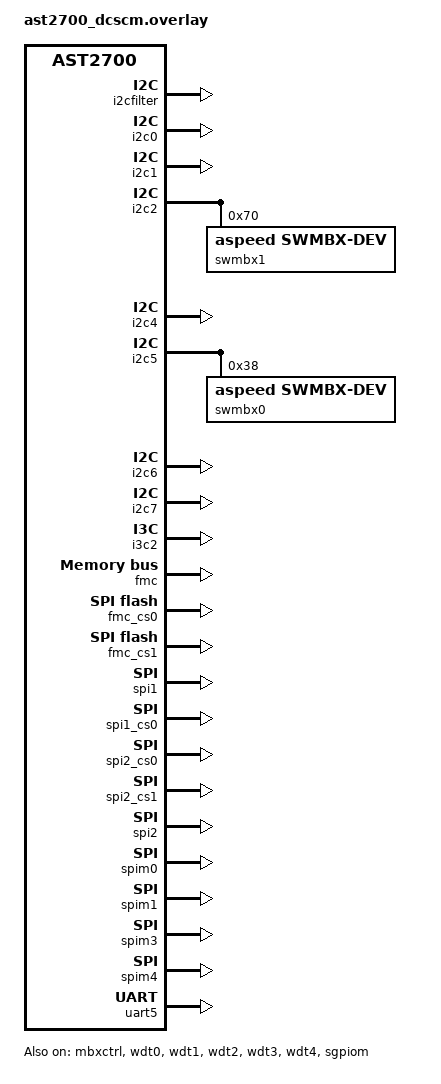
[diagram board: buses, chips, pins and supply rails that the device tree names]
#include <aspeed/ast10x0.dtsi>
#include "ast2700_dcscm_gpio_common.dts"
#include "ast2700_dcscm_gpio_bhs.dts"

&i2cfilter {
	status = "okay";
};

&mbxctrl {
	status = "okay";
};

&i2c0 {
	status = "okay";
};

&i2c1 {
	status = "okay";
};

&i2c2 {
	status = "okay";

	swmbx1: swmbx1@70 {
		compatible = "aspeed,swmbx-dev";
		reg = <0x70>;
		size = <256>;
		port = <1>;
		status = "okay";
	};
};

&i2c4 {
	status = "okay";
};

&i2c5 {
	status = "okay";

	swmbx0: swmbx0@38 {
		compatible = "aspeed,swmbx-dev";
		reg = <0x38>;
		size = <256>;
		port = <0>;
		status = "okay";
	};
};

&i2c6 {
	status = "okay";
};

&i2c7 {
	status = "okay";
};

// For mctp over i3c
// AST2700 i3c-0 -> AST1060 i3c-2
&i3c2 {
	status = "okay";
	sda-tx-hold-ns = <20>;
	i3c-pp-scl-hi-period-ns = <250>;
	i3c-pp-scl-lo-period-ns = <250>;

	pinctrl-0 = <pinctrl_i3c2_default>;

	i3cdev@7ec06000000 {
		compatible = "i3c-dummy-device";
		reg = <0x0 0x7ec 0x06000000>;
		status = "okay";
	};
};

&wdt0 {
	status = "okay";
};

&wdt1 {
	status = "okay";
};

&wdt2 {
	status = "okay";
};

&wdt3 {
	status = "okay";
};

&wdt4 {
	status = "okay";
};

&fmc {
	status = "okay";
};

&fmc_cs0 {
	/delete-property/ write-block-size;
	status = "okay";
	spi-max-buswidth = <4>;
	spi-max-frequency = <50000000>;
	partitions {
		compatible = "fixed-partitions";
		#address-cells = <1>;
		#size-cells = <1>;
		active_partition: partition@0 {
			label = "active";
			reg = <0x0 0x60000>;
		};

		recovery_partition: partition@60000 {
			label = "recovery";
			reg = <0x60000 0x60000>;
		};

		state_partition: partition@c0000 {
			label = "state";
			reg = <0xC0000 0x10000>;
		};

		intel_state_partition: partition@d0000 {
			label = "intel_state";
			reg = <0xD0000 0x10000>;
		};

		key_partition: partition@e0000 {
			label = "key";
			reg = <0xE0000 0x10000>;
		};

		/* For Intel-PFR 3.0 */
		afm_act_1_partition: partition@f0000 {
			label = "afm_act_1";
			reg = <0xF0000 0x10000>;
		};
	};
};

&fmc_cs1 {
	status = "okay";
	spi-max-buswidth = <4>;
	spi-max-frequency = <50000000>;
	partitions {
		compatible = "fixed-partitions";
		#address-cells = <1>;
		#size-cells = <1>;

#if 0
		/* Reserved for Intel-PFR 4.0 */
		afm_act_1_partition: partition@0 {
			label = "afm_active_1";
			reg = <0x0 0x80000>;
		};

		afm_act_2_partition: partition@80000 {
			label = "afm_active_2";
		}
			reg = <0x80000 0x80000>;

		afm_rcv_1_partition: partition@100000 {
			label = "afm_recovery_1";
			reg = <0x100000 0x80000>;
		};

		afm_rcv_2_partition: partition@180000 {
			label = "afm_recovery_2";
			reg = <0x180000 0x80000>;
		};
#endif
		intel_cpld_act_partition: partition@0 {
			label = "intel_cpld_act";
			reg = <0x000000 0x200000>;
		};
		intel_cpld_rc_partition: partition@200000 {
			label = "intel_cpld_rc";
			reg = <0x200000 0x200000>;
		};
	};
};

&spi1 {
	num-cs = <1>;
	status = "okay";
};

/* "SPI1_CS0" used to access flash connected to SPI_Monitor_1,
 * "SPI2_CS0" used to access flash connected to SPI_Monitor_3,
 * "SPI2_CS1" is used to access flash connected to SPI_Monitor_4,
 */

&spi1_cs0 {
	spi-max-buswidth = <4>;
	spi-max-frequency = <50000000>;
	status = "okay";
};

&spi2_cs0 {
	spi-max-buswidth = <1>;
	spi-max-frequency = <25000000>;
	status = "okay";
};

&spi2_cs1 {
	spi-max-buswidth = <1>;
	spi-max-frequency = <25000000>;
	status = "okay";
};

&spi2 {
	internal-mux-master = <2>;
	spi-monitor-output-base = <3>;
	spi-monitor-common-ctrl = <&spim0>;
	pinctrl-0 = <>;

	num-cs = <2>;
	status = "okay";

	spim-proprietary-config-enable;
};

&spim0 {
	status = "okay";
};

&spim1 {
	allow-cmds = [03 13 0b 0c 6b 6c 01 05 35 06 04 20 21 9f 5a b7 e9 32 34 d8 dc 02 12 3b 3c 70 bb bc];
	log-ram-size = <0x200>;
	pinctrl-0 = <pinctrl_spim1_quad_default>;
	pinctrl-names = "default";
	flash-device = <&spi1_cs0>;
	ext-mux-sel = <1>;
	status = "okay";

	write-forbidden-regions = <
		0x00000000 0x10000000
	>;
};

&spim3 {
	allow-cmds = [03 13 0b 0c 6b 6c 01 05 35 06 04 20 21 9f 5a b7 e9 32 34 d8 dc 02 12 3b 3c 70 bb bc];
	log-ram-size = <0x200>;
	pinctrl-0 = <&pin_spim3csin &pin_spim3clkin &pin_spim3mosiin &pin_spim3misoin
		&pin_spim3csout &pin_spim3io2in &pin_spim3io3in &pin_spim3clkout
		&pin_spim3misoout &pin_spim3mosiout &pin_spim3io2out &pin_spim3io3out
		&pin_spim3muxsel>;
	pinctrl-names = "default";
	flash-device = <&spi2_cs0>;
	ext-mux-sel = <1>;
	status = "okay";
	write-forbidden-regions = <
		0x00000000 0x08000000
	>;
};

&spim4 {
	allow-cmds = [03 13 0b 0c 6b 6c 01 05 35 06 04 20 21 9f 5a b7 e9 32 34 d8 dc 02 12 3b 3c 70 bb bc];
	log-ram-size = <0x200>;
	pinctrl-0 = <&pin_spim4csin &pin_spim4clkin &pin_spim4mosiin &pin_spim4misoin
		&pin_spim4csout &pin_spim4io2in &pin_spim4io3in &pin_spim4clkout
		&pin_spim4misoout &pin_spim4mosiout &pin_spim4io2out &pin_spim4io3out
		&pin_spim4muxsel>;
	pinctrl-names = "default";
	flash-device = <&spi2_cs1>;
	ext-mux-sel = <1>;
	status = "okay";
	write-forbidden-regions = <
		0x00000000 0x08000000
	>;
};

&sgpiom {
	status = "okay";
	sgpiom_a_d {
		status = "okay";
	};
	sgpiom_e_h {
		status = "okay";
	};
	sgpiom_i_l {
		status = "okay";
	};
	sgpiom_m_p {
		status = "okay";
	};
};

&uart5 {
	status = "okay";
};
